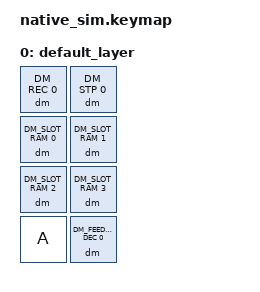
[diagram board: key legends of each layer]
#include <dt-bindings/zmk/keys.h>
#include <behaviors.dtsi>
#include <dt-bindings/zmk/kscan_mock.h>
#include <behaviors/dynamic_macro.dtsi>
#include <dt-bindings/zmk/dynamic_macros.h>

/* Verify per-level feedback output against the README spec.
 * Starts at VERBOSE, steps down through BASIC -> COMMAND -> ERROR.
 * Each round: REC, record A, STOP, assign to slot N, play empty slot N+1.
 * Operations visible per level:
 *   VERBOSE:  >*  A  >.  >RN:'a'  ?RN+1
 *   BASIC:    >*  A  >.  >RN      ?RN+1
 *   COMMAND:  >*  A  >.  >RN      (no empty slot msg)
 *   ERROR:    A                   (no command feedback)
 * Each operation is separated by 500ms to allow full feedback emission.
 * The REC->record gap is 300ms so the keystroke lands after REC feedback
 * finishes (while RECORDING, not suppressed), otherwise it isn't recorded. */

&kscan {
    rows = <4>;
    columns = <2>;
    exit-after;
    events = <
        /* --- VERBOSE --- */
        ZMK_MOCK_PRESS(0,0,10)
        ZMK_MOCK_RELEASE(0,0,300)
        ZMK_MOCK_PRESS(3,0,10)
        ZMK_MOCK_RELEASE(3,0,500)
        ZMK_MOCK_PRESS(0,1,10)
        ZMK_MOCK_RELEASE(0,1,500)
        /* SLOT_RAM 0 (assign) */
        ZMK_MOCK_PRESS(1,0,10)
        ZMK_MOCK_RELEASE(1,0,1000)
        /* SLOT_RAM 1 (play empty) */
        ZMK_MOCK_PRESS(1,1,10)
        ZMK_MOCK_RELEASE(1,1,500)
        /* DEC: VERBOSE -> BASIC */
        ZMK_MOCK_PRESS(3,1,10)
        ZMK_MOCK_RELEASE(3,1,2000)

        /* --- BASIC --- */
        ZMK_MOCK_PRESS(0,0,10)
        ZMK_MOCK_RELEASE(0,0,300)
        ZMK_MOCK_PRESS(3,0,10)
        ZMK_MOCK_RELEASE(3,0,500)
        ZMK_MOCK_PRESS(0,1,10)
        ZMK_MOCK_RELEASE(0,1,500)
        /* SLOT_RAM 1 (assign) */
        ZMK_MOCK_PRESS(1,1,10)
        ZMK_MOCK_RELEASE(1,1,500)
        /* SLOT_RAM 2 (play empty) */
        ZMK_MOCK_PRESS(2,0,10)
        ZMK_MOCK_RELEASE(2,0,500)
        /* DEC: BASIC -> COMMAND */
        ZMK_MOCK_PRESS(3,1,10)
        ZMK_MOCK_RELEASE(3,1,2000)

        /* --- COMMAND --- */
        ZMK_MOCK_PRESS(0,0,10)
        ZMK_MOCK_RELEASE(0,0,300)
        ZMK_MOCK_PRESS(3,0,10)
        ZMK_MOCK_RELEASE(3,0,500)
        ZMK_MOCK_PRESS(0,1,10)
        ZMK_MOCK_RELEASE(0,1,500)
        /* SLOT_RAM 2 (assign) */
        ZMK_MOCK_PRESS(2,0,10)
        ZMK_MOCK_RELEASE(2,0,500)
        /* SLOT_RAM 3 (play empty - no output at COMMAND) */
        ZMK_MOCK_PRESS(2,1,10)
        ZMK_MOCK_RELEASE(2,1,500)
        /* DEC: COMMAND -> ERROR */
        ZMK_MOCK_PRESS(3,1,10)
        ZMK_MOCK_RELEASE(3,1,2000)

        /* --- ERROR --- */
        ZMK_MOCK_PRESS(0,0,10)
        ZMK_MOCK_RELEASE(0,0,300)
        ZMK_MOCK_PRESS(3,0,10)
        ZMK_MOCK_RELEASE(3,0,500)
        ZMK_MOCK_PRESS(0,1,10)
        ZMK_MOCK_RELEASE(0,1,500)
        /* SLOT_RAM 3 (assign - no feedback at ERROR) */
        ZMK_MOCK_PRESS(2,1,10)
        ZMK_MOCK_RELEASE(2,1,2000)
    >;
};

/ {
    keymap {
        compatible = "zmk,keymap";
        default_layer {
            bindings = <
                &dm DM_REC 0           &dm DM_STP 0
                &dm DM_SLOT_RAM 0      &dm DM_SLOT_RAM 1
                &dm DM_SLOT_RAM 2      &dm DM_SLOT_RAM 3
                &kp A                  &dm DM_FEEDBACK_DEC 0
            >;
        };
    };
};
